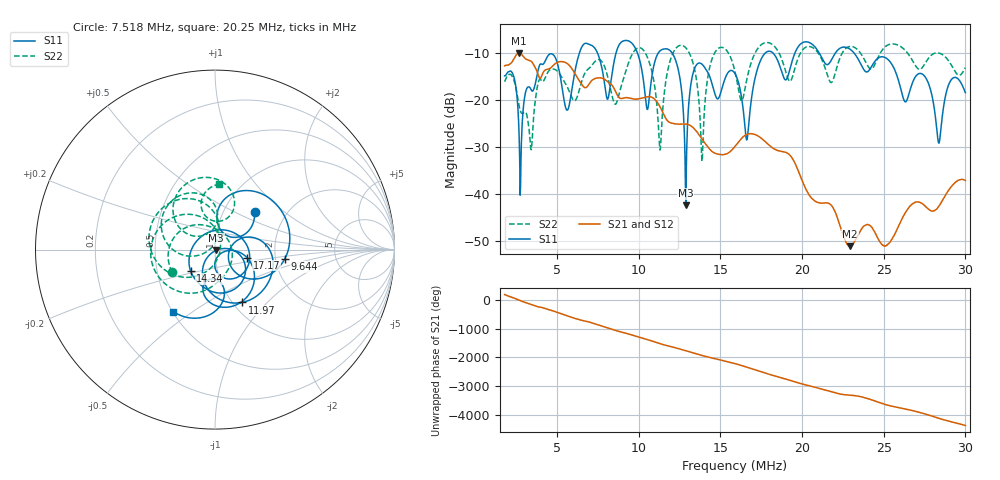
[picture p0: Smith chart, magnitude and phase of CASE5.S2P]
!Agilent Technologies,E5061B,MY49101568,A.02.00
!Date: Wed Mar 01 15:27:40 2023
!Data & Calibration Information:
!Freq	S11:SOLT2(OFF)	S21:SOLT2(OFF)	S12:SOLT2(OFF)	S22:SOLT2(OFF)
# Hz S dB R 50
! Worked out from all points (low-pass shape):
!   1155 points, 1.8 MHz to 30 MHz, reference 50 ohm
!   highest |S21| = -10.01 dB at 2.68 MHz (marker M1); lowest = -51.2 dB at 22.94 MHz (marker M2)
!   |S21| within 3 dB of the highest: start of sweep to 3.657 MHz; 4.672 MHz to 5.846 MHz (1.174 MHz wide, 22.3 % of centre)
!   lowest |S11| = -42.4 dB at 12.89 MHz (marker M3), VSWR 1.02, Z = 50.6 - j0.422 ohm
!   |S11| at or under -10 dB: start of sweep to 6.378 MHz; 12.05 MHz to 17.76 MHz (5.705 MHz wide, 38.3 % of centre); 23.18 MHz to end of sweep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
!   |S22| runs from -33.1 to -7.8 dB; largest |S21 - S12| = 0.004
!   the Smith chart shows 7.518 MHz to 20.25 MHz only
!   S11 on the Smith chart (normalised r, x): 7.518 MHz: 1.39, +0.65; 9.644 MHz: 2.24, -0.28; 11.97 MHz: 1.10, -0.73; 14.34 MHz: 0.74, -0.18; 17.17 MHz: 1.43, -0.13; 20.25 MHz: 0.51, -0.42
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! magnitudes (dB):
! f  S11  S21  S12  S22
! 1.8 MHz  -14.9  -12.7  -12.7  -16.1
! 2.68 MHz  -26.7  -10.0  -10.0  -21.2
! 3.975 MHz  -12.4  -15.5  -15.5  -15.6
! 6.516 MHz  -8.8  -16.7  -16.6  -16.1
! 7.518 MHz  -10.3  -15.3  -15.2  -11.4
! 8.593 MHz  -10.3  -18.3  -18.2  -20.9
! 9.644 MHz  -8.1  -19.8  -19.8  -10.0
! 10.52 MHz  -22.0  -19.3  -19.4  -10.8
! 11.21 MHz  -10.0  -20.9  -20.9  -25.3
! 11.97 MHz  -9.6  -24.9  -25.0  -11.3
! 12.89 MHz  -42.4  -25.2  -25.2  -8.9
! 13.87 MHz  -12.4  -28.3  -28.3  -33.1
! 14.34 MHz  -14.9  -30.4  -30.5  -13.3
! 15.9 MHz  -14.4  -29.9  -30.0  -14.0
! 16.61 MHz  -28.5  -27.4  -27.4  -15.9
! 17.17 MHz  -14.7  -27.4  -27.5  -9.7
! 20.25 MHz  -7.6  -39.1  -39.1  -8.7
! 20.62 MHz  -8.1  -41.0  -41.0  -8.8
! 22.94 MHz  -9.2  -51.2  -51.0  -8.6
! 25.31 MHz  -11.5  -50.6  -50.5  -8.2
! 28.36 MHz  -29.2  -42.7  -42.7  -10.0
! 30 MHz  -18.4  -37.2  -37.1  -13.1
